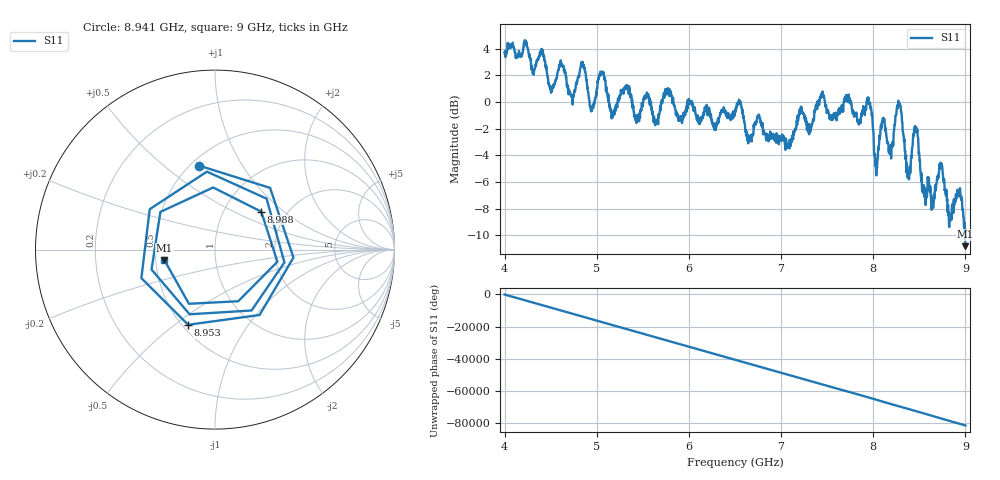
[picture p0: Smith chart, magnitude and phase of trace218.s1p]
! Created with skrf 1.8.0 (http://scikit-rf.org).
# Hz S RI R 50.0
!freq ReS11 ImS11
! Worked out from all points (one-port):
!   1601 points, 4 GHz to 9 GHz, reference 50 ohm
!   lowest |S11| = -10.8 dB at 9 GHz (marker M1), VSWR 1.81, Z = 27.8 - j3.57 ohm
!   |S11| at or under -10 dB: 8.993945 GHz to 8.994108 GHz (163 kHz wide, 0.00181 % of centre); 8.998145 GHz to end of sweep
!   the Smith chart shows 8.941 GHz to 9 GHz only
!   S11 on the Smith chart (normalised r, x): 8.941 GHz: 0.55, +0.67; 8.953 GHz: 0.54, -0.56; 8.988 GHz: 1.49, +0.71; 9 GHz: 0.56, -0.07
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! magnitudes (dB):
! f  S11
! 4 GHz  3.7
! 4.403 GHz  4.0
! 4.506 GHz  0.8
! 4.625 GHz  2.7
! 4.728 GHz  0.4
! 4.853 GHz  2.8
! 4.947 GHz  -0.7
! 5.05 GHz  2.2
! 5.162 GHz  -1.2
! 5.25 GHz  0.2
! 5.875 GHz  -1.1
! 6.5 GHz  -0.6
! 7.125 GHz  -2.7
! 7.75 GHz  -0.1
! 7.956 GHz  0.0
! 8.031 GHz  -5.4
! 8.103 GHz  -1.2
! 8.194 GHz  -4.2
! 8.281 GHz  -0.2
! 8.375 GHz  -5.5
! 8.459 GHz  -2.0
! 8.556 GHz  -7.0
! 8.731 GHz  -4.6
! 8.828 GHz  -8.5
! 8.941 GHz  -6.5
! 8.953 GHz  -7.0
! 8.988 GHz  -9.5
! 9 GHz  -10.8
